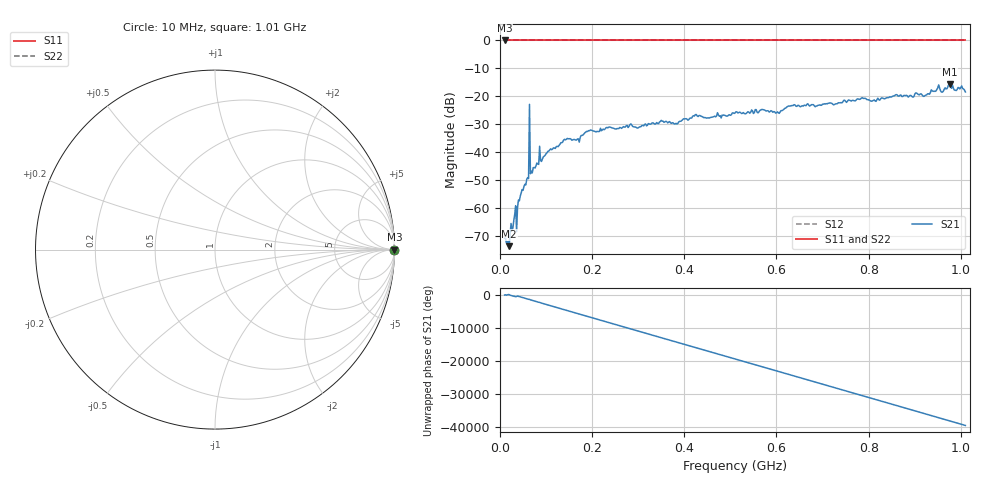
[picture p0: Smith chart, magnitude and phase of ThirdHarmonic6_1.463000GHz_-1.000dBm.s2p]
! 8/16/2025 5:01:24 PM
! C:\ANRITSUVNA\TEMP\TEMP.S2P
! CHANNEL.1
! TR.MEASUREMENT
! RAW.DATA
! RF.CORRECTION.OFF
! AVERAGING.OFF
! IF.BANDWIDTH: 5KHZ
! SWEEPTYPE:  FREQ.SWEEP(Linear)
! Reference Plane Port Info
! PORT:  PORT1  PORT2
! DISTANCE:  0  m  0  m
! TIME:  0  s  0  s
! PHASE.OFFSET:  0  deg.  0  deg.
! LOSS:  0  dB  0  dB
! REF.LOSS:  0  dB  0  dB
! REF.FREQ:  0  Hz  0  Hz
! Power Info
! POWER:  -20  dBm  -20  dBm
! EFF.POWER:  -20  dBm  -20  dBm
! SOURCE.ATTEN:  0  dB  0  dB
! TEST.ATTEN:  0  dB  0  dB
# GHZ S RI R 50.0
! FREQ.GHZ  S11RE  S11IM  S21RE  S21IM  S12RE  S12IM  S22RE  S22IM
!; PortSelection: Port_12
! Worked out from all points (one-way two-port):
!   501 points, 10 MHz to 1.01 GHz, reference 50 ohm
!   highest |S21| = -15.57 dB at 976 MHz (marker M1); lowest = -73.7 dB at 20 MHz (marker M2)
!   lowest |S11| = 0.0 dB at 10 MHz (marker M3)
!   |S11| at or under -10 dB: nowhere
!   |S22| runs from 0.0 to 0.0 dB; largest |S21 - S12| = 1.1
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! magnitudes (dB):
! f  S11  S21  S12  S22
! 10 MHz  0.0  -70.9  0.0  0.0
! 16 MHz  0.0  -72.3  0.0  0.0
! 20 MHz  0.0  -73.7  0.0  0.0
! 40 MHz  0.0  -57.2  0.0  0.0
! 44 MHz  0.0  -55.7  0.0  0.0
! 58 MHz  0.0  -49.7  0.0  0.0
! 60 MHz  0.0  -49.2  0.0  0.0
! 68 MHz  0.0  -46.8  0.0  0.0
! 70 MHz  0.0  -47.5  0.0  0.0
! 106 MHz  0.0  -39.6  0.0  0.0
! 142 MHz  0.0  -35.6  0.0  0.0
! 178 MHz  0.0  -34.0  0.0  0.0
! 234 MHz  0.0  -31.3  0.0  0.0
! 344 MHz  0.0  -29.8  0.0  0.0
! 510 MHz  0.0  -26.0  0.0  0.0
! 602 MHz  0.0  -25.6  0.0  0.0
! 630 MHz  0.0  -23.5  0.0  0.0
! 678 MHz  0.0  -23.0  0.0  0.0
! 844 MHz  0.0  -20.4  0.0  0.0
! 922 MHz  0.0  -19.8  0.0  0.0
! 976 MHz  0.0  -15.6  0.0  0.0
! 1.01 GHz  0.0  -18.5  0.0  0.0
